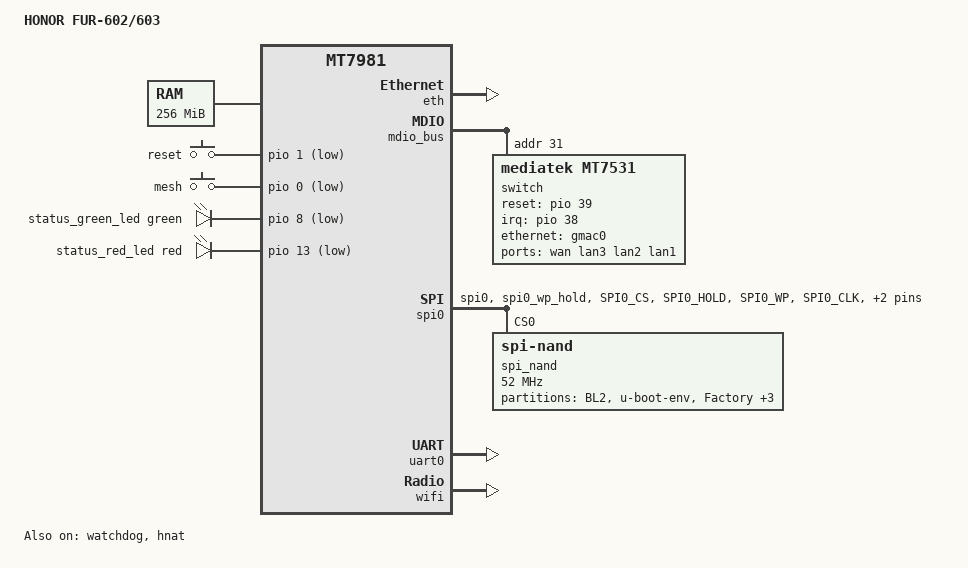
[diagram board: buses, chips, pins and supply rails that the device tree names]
// SPDX-License-Identifier: GPL-2.0-or-later OR MIT
//
// HONOR FUR-602 / FUR-603  (联通定制 XU50 / XT50 / XC50)
//   SoC   : MediaTek MT7981B (Filogic 820), 2x A53 @1.3GHz
//   RAM   : 256 MiB DDR3
//   Flash : 128 MiB SPI-NAND, NMBM enabled
//   WLAN  : MT7981 2.4G 2x2 + MT7976CN 5G 2x2 = AX3000
//   ETH   : MT7531 switch (DSA), 1x 1G WAN + 3x 1G LAN, all behind gmac0
//
// 目标树: padavanonly/immortalwrt-mt798x-6.6 @ openwrt-24.10-6.6
//         (Linux 6.6 + MTK SDK 补丁 + 闭源 mt_wifi 7.6.6.1)
//
// 本文件对齐 `fur602 dts.rar` 里 dts/6.6-padavanonly 与 dts/6.6-closewrt 两个
// 已在实机出过包的版本（对应 README 的固件 02 / 04），只保留三处有意差异：
//   1. LED 用 function/color 写法（24.10 规范，生成 green:status）。参考版用
//      label = "green:status"，两者等价，前者不会在 25.x 被弃用。
//   2. 追加 wan 口 MAC（Factory@0x24）——参考版没设，导致 WAN 与 LAN 共用
//      gmac0 的 MAC。schema12 的开源版用 0x24，两处交叉验证过。
//   3. pinctrl 用裸数值 + mediatek,pull-*-adv，不用 MTK_DRIVE_8mA /
//      MTK_PUPD_SET_R1R0_11 宏。本树 360T7 / RAX3000M-mtk 都是裸数值写法，
//      宏来自 SDK 的 dtsi，换树容易踩空。数值等价：8mA / R1R0_11(=3)。
//
// 关于 wifi eeprom（重要）：
//   闭源 mt_wifi 不读 DTS 的 eeprom 节点，它按 defconfig 的
//   CONFIG_MTK_RT_FIRST_CARD_EEPROM="flash" + CONFIG_MTK_RT_FIRST_IF_RF_OFFSET=0xc0000
//   直接读 Factory 分区。所以 &wifi 里只写 status = "okay"，
//   与上游 cmcc,rax3000m 等 -mtk 机型完全一致。
//   Factory 下的 eeprom_factory_0 cell 保留着，给以后可能换开源 mt76 时用，
//   当前没有任何节点引用它，不影响 mt_wifi。
//
// 刷机前提（硬性，不满足必砖）：
//   U-Boot 必须是 hanwckf/bl-mt798x 的 mt7981_honor_fur-602，
//   且 mtd 布局必须是 expand(114m)（默认 default 布局只有 64MiB UBI）。

/dts-v1/;
#include <dt-bindings/gpio/gpio.h>
#include <dt-bindings/input/input.h>
#include <dt-bindings/leds/common.h>

#include "mt7981.dtsi"

/ {
	model = "HONOR FUR-602/603";
	compatible = "honor,fur-602", "mediatek,mt7981";

	aliases {
		serial0 = &uart0;
		label-mac-device = &gmac0;
		led-boot = &status_red_led;
		led-failsafe = &status_red_led;
		led-running = &status_green_led;
		led-upgrade = &status_green_led;
	};

	chosen {
		stdout-path = "serial0:115200n8";
	};

	memory {
		reg = <0 0x40000000 0 0x10000000>;
	};

	gpio-keys {
		compatible = "gpio-keys";

		button-reset {
			label = "reset";
			linux,code = <KEY_RESTART>;
			gpios = <&pio 1 GPIO_ACTIVE_LOW>;
		};

		button-mesh {
			label = "mesh";
			linux,code = <BTN_9>;
			linux,input-type = <EV_SW>;
			gpios = <&pio 0 GPIO_ACTIVE_LOW>;
		};
	};

	gpio-leds {
		compatible = "gpio-leds";

		status_green_led: led-0 {
			function = LED_FUNCTION_STATUS;
			color = <LED_COLOR_ID_GREEN>;
			gpios = <&pio 8 GPIO_ACTIVE_LOW>;
		};

		status_red_led: led-1 {
			function = LED_FUNCTION_STATUS;
			color = <LED_COLOR_ID_RED>;
			gpios = <&pio 13 GPIO_ACTIVE_LOW>;
		};
	};
};

&eth {
	status = "okay";

	gmac0: mac@0 {
		compatible = "mediatek,eth-mac";
		reg = <0>;
		phy-mode = "2500base-x";

		nvmem-cells = <&macaddr_factory_2a 0>;
		nvmem-cell-names = "mac-address";

		fixed-link {
			speed = <2500>;
			full-duplex;
			pause;
		};
	};
};

&mdio_bus {
	switch: switch@1f {
		compatible = "mediatek,mt7531";
		reg = <31>;
		reset-gpios = <&pio 39 GPIO_ACTIVE_HIGH>;
		interrupt-controller;
		#interrupt-cells = <1>;
		interrupt-parent = <&pio>;
		interrupts = <38 IRQ_TYPE_LEVEL_HIGH>;
	};
};

&pio {
	spi0_flash_pins: spi0-pins {
		mux {
			function = "spi";
			groups = "spi0", "spi0_wp_hold";
		};

		conf-pu {
			pins = "SPI0_CS", "SPI0_HOLD", "SPI0_WP";
			drive-strength = <8>;
			mediatek,pull-up-adv = <3>;	/* R1R0_11 */
		};

		conf-pd {
			pins = "SPI0_CLK", "SPI0_MOSI", "SPI0_MISO";
			drive-strength = <8>;
			mediatek,pull-down-adv = <3>;	/* R1R0_11 */
		};
	};
};

&spi0 {
	pinctrl-names = "default";
	pinctrl-0 = <&spi0_flash_pins>;
	status = "okay";

	spi_nand: flash@0 {
		#address-cells = <1>;
		#size-cells = <1>;
		compatible = "spi-nand";
		reg = <0>;

		spi-max-frequency = <52000000>;
		spi-tx-bus-width = <4>;
		spi-rx-bus-width = <4>;

		/* 本 PCB 的 SPI 采样延时校准（来自 hanwckf 参考 DTS） */
		spi-cal-enable;
		spi-cal-mode = "read-data";
		spi-cal-datalen = <7>;
		spi-cal-data = /bits/ 8 <0x53 0x50 0x49 0x4E 0x41 0x4E 0x44>; /* 'SPINAND' */
		spi-cal-addrlen = <5>;
		spi-cal-addr = /bits/ 32 <0x0 0x0 0x0 0x0 0x0>;

		/* 必须与 bl-mt798x U-Boot 的 CONFIG_ENABLE_NAND_NMBM=y 一致 */
		mediatek,nmbm;
		mediatek,bmt-max-ratio = <1>;
		mediatek,bmt-max-reserved-blocks = <64>;

		partitions {
			compatible = "fixed-partitions";
			#address-cells = <1>;
			#size-cells = <1>;

			/* 分区名大小写照抄原厂 / U-Boot mtdparts，别改成小写 */
			partition@0 {
				label = "BL2";
				reg = <0x0 0x100000>;
				read-only;
			};

			partition@100000 {
				label = "u-boot-env";
				reg = <0x100000 0x80000>;
			};

			partition@180000 {
				label = "Factory";
				reg = <0x180000 0x1e0000>;
				read-only;

				nvmem-layout {
					compatible = "fixed-layout";
					#address-cells = <1>;
					#size-cells = <1>;

					/* 给 mt76 用的 eeprom cell；mt_wifi 不走这里 */
					eeprom_factory_0: eeprom@0 {
						reg = <0x0 0x1000>;
					};

					/* 荣耀 Factory 的 MAC 布局，若与实际备份不符请改偏移 */
					macaddr_factory_24: macaddr@24 {
						compatible = "mac-base";
						reg = <0x24 0x6>;
						#nvmem-cell-cells = <1>;
					};

					macaddr_factory_2a: macaddr@2a {
						compatible = "mac-base";
						reg = <0x2a 0x6>;
						#nvmem-cell-cells = <1>;
					};
				};
			};

			partition@360000 {
				label = "Trace";
				reg = <0x360000 0x20000>;
				read-only;
			};

			partition@380000 {
				label = "FIP";
				reg = <0x380000 0x200000>;
				read-only;
			};

			partition@580000 {
				label = "ubi";
				reg = <0x580000 0x7200000>;
			};
		};
	};
};

&switch {
	ports {
		#address-cells = <1>;
		#size-cells = <0>;

		/* WAN = 交换口 port0，LAN = port1/2/3（与 hanwckf 5.4 及实测一致） */
		port@0 {
			reg = <0>;
			label = "wan";
			nvmem-cells = <&macaddr_factory_24 0>;
			nvmem-cell-names = "mac-address";
		};

		port@1 {
			reg = <1>;
			label = "lan3";
		};

		port@2 {
			reg = <2>;
			label = "lan2";
		};

		port@3 {
			reg = <3>;
			label = "lan1";
		};

		port@6 {
			reg = <6>;
			ethernet = <&gmac0>;
			phy-mode = "2500base-x";

			fixed-link {
				speed = <2500>;
				full-duplex;
				pause;
			};
		};
	};
};

&uart0 {
	status = "okay";
};

&watchdog {
	status = "okay";
};

&hnat {
	/* 单 gmac0 接 MT7531（DSA）。dtsi 默认是双 gmac 参考板的
	 * mtketh-max-gmac = <2>，这里改回 1。
	 * mtkdsa-wan-port 必须给出，否则 hnat_dsa_is_enable() 恒为 false，
	 * 硬件 NAT 卸载不会启用（交换机 port0 = WAN）。
	 */
	mtketh-max-gmac = <1>;
	mtkdsa-wan-port = <0>;
	status = "okay";
};

&wifi {
	/* 闭源 mt_wifi 不走 nvmem：它按
	 *   CONFIG_MTK_RT_FIRST_CARD_EEPROM="flash"
	 *   CONFIG_MTK_RT_FIRST_IF_RF_OFFSET=0xc0000
	 * 直接读 Factory 分区。这里只写 status，
	 * 与上游 cmcc,rax3000m 等 -mtk 机型保持一致。
	 */
	status = "okay";
};
